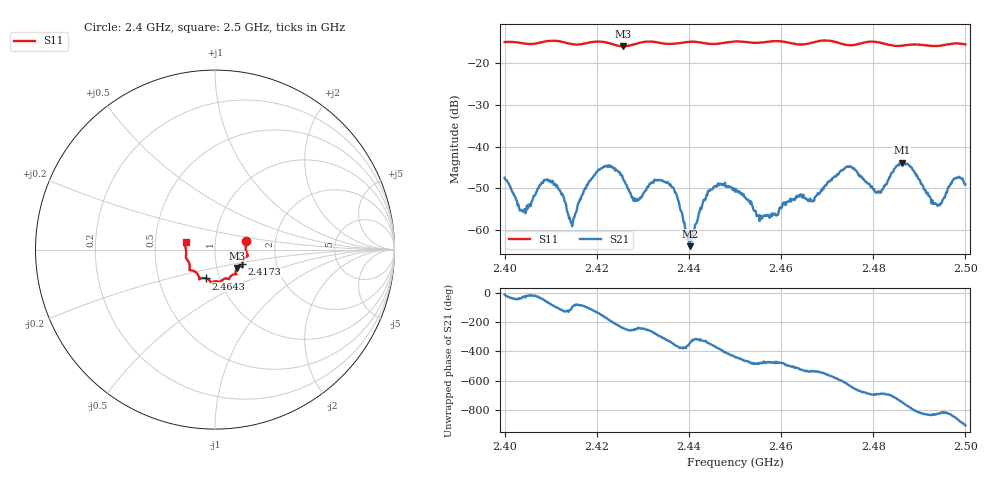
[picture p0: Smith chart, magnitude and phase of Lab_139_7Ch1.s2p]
# Hz S RI R 50
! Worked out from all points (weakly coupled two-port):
!   601 points, 2.4 GHz to 2.5 GHz, reference 50 ohm
!   highest |S21| = -43.88 dB at 2.4862 GHz (marker M1); lowest = -63.9 dB at 2.4402 GHz (marker M2)
!   lowest |S11| = -15.9 dB at 2.4257 GHz (marker M3), VSWR 1.38, Z = 62.5 - j13.1 ohm
!   |S11| at or under -10 dB: start of sweep to end of sweep
!   S12 and S22 are empty: the file has one direction only
!   S11 on the Smith chart (normalised r, x): 2.4 GHz: 1.41, +0.14; 2.4173 GHz: 1.34, -0.23; 2.4643 GHz: 0.86, -0.28; 2.5 GHz: 0.72, +0.06
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2.4e9  0.1731 0.0493  0.00411 -0.000959  0 0  0 0
2.404167e9  0.1717 0.0233  0.00149 -0.000743  0 0  0 0
2.409e9  0.1817 -0.0285  0.00207 -0.0034  0 0  0 0
2.4145e9  0.1624 -0.0511  -0.000371 -0.00116  0 0  0 0
2.416667e9  0.1529 -0.0745  0.000175 -0.00252  0 0  0 0
2.417333e9  0.1521 -0.0819  -0.00021 -0.00304  0 0  0 0
2.421667e9  0.1526 -0.0952  -0.00563 -0.00155  0 0  0 0
2.425667e9  0.1227 -0.1024  -0.00205 0.00357  0 0  0 0
2.4285e9  0.1151 -0.1276  -0.000907 0.00203  0 0  0 0
2.433333e9  0.1127 -0.137  0.0015 0.00366  0 0  0 0
2.436833e9  0.0883 -0.1477  0.00297 0.000339  0 0  0 0
2.440167e9  0.0792 -0.1634  0.000611 0.000177  0 0  0 0
2.444333e9  0.0609 -0.1607  0.00285 0.000771  0 0  0 0
2.45e9  0.0294 -0.1808  0.000566 -0.00282  0 0  0 0
2.455833e9  -0.00526 -0.1778  -0.000619 -0.00121  0 0  0 0
2.464333e9  -0.0498 -0.1606  -0.00256 -0.000704  0 0  0 0
2.466667e9  -0.0758 -0.1596  -0.00224 -0.000225  0 0  0 0
2.4745e9  -0.1017 -0.131  -0.00044 0.00578  0 0  0 0
2.483333e9  -0.1408 -0.09  0.00367 0.00165  0 0  0 0
2.486167e9  -0.1505 -0.0619  0.00588 -0.00253  0 0  0 0
2.4935e9  -0.1611 -0.00806  -0.000693 -0.00196  0 0  0 0
2.5e9  -0.1637 0.0419  -0.00349 0.000237  0 0  0 0
